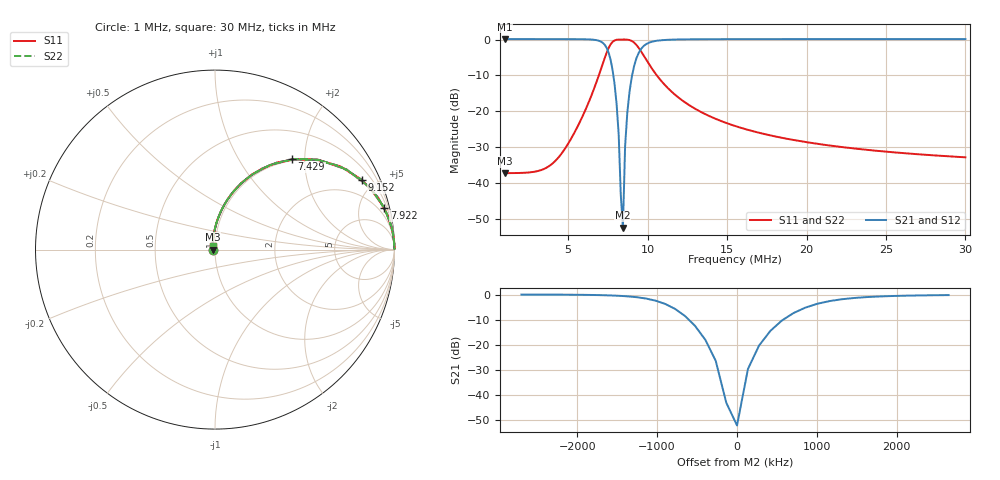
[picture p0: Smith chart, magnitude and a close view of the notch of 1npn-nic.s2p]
# HZ S RI R 50
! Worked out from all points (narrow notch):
!   213 points, 1 MHz to 30 MHz, reference 50 ohm
!   highest |S21| = 0.12 dB at 1 MHz (marker M1); lowest = -52.3 dB at 8.447 MHz (marker M2)
!   notch at M2: 52.4 dB deep, 462 kHz wide at half that depth
!   lowest |S11| = -37.2 dB at 1 MHz (marker M3), VSWR 1.03, Z = 48.6 + j0.0503 ohm
!   |S11| at or under -10 dB: start of sweep to 6.927 MHz; 10.59 MHz to end of sweep
!   |S22| runs from -37.2 to 0.0 dB; largest |S21 - S12| = 1e-15
!   S11 on the Smith chart (normalised r, x): 1 MHz: 0.97, +0.00; 7.429 MHz: 0.97, +1.74; 7.922 MHz: 0.97, +8.16; 9.152 MHz: 0.97, +4.21; 30 MHz: 0.97, +0.04
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1000000  -0.0139 0.000517  1.014 -0.000517  1.014 -0.000517  -0.0139 0.000517
3848349  -0.0137 0.0111  1.014 -0.0111  1.014 -0.0111  -0.0137 0.0111
5840242  -0.00761 0.0794  1.008 -0.0794  1.008 -0.0794  -0.00761 0.0794
6856561  0.0685 0.2769  0.9315 -0.2769  0.9315 -0.2769  0.0685 0.2769
7429236  0.4288 0.5028  0.5712 -0.5028  0.5712 -0.5028  0.4288 0.5028
7671482  0.7317 0.4472  0.2683 -0.4472  0.2683 -0.4472  0.7317 0.4472
7921626  0.944 0.2316  0.056 -0.2316  0.056 -0.2316  0.944 0.2316
8179928  0.9978 0.0477  0.00225 -0.0477  0.00225 -0.0477  0.9978 0.0477
8312220  1 0.00691  4.71e-05 -0.00691  4.71e-05 -0.00691  1 0.00691
8446651  1 0.00243  5.81e-06 -0.00243  5.81e-06 -0.00243  1 0.00243
8583257  0.9989 0.0328  0.00106 -0.0328  0.00106 -0.0328  0.9989 0.0328
8722072  0.9909 0.0957  0.00912 -0.0957  0.00912 -0.0957  0.9909 0.0957
8863132  0.9648 0.1857  0.0352 -0.1857  0.0352 -0.1857  0.9648 0.1857
9152133  0.8177 0.3894  0.1823 -0.3894  0.1823 -0.3894  0.8177 0.3894
9450558  0.57 0.5011  0.43 -0.5011  0.43 -0.5011  0.57 0.5011
9916538  0.2628 0.4516  0.7372 -0.4516  0.7372 -0.4516  0.2628 0.4516
1.074479e7  0.0684 0.2768  0.9316 -0.2768  0.9316 -0.2768  0.0684 0.2768
1.281861e7  -0.000711 0.1148  1.001 -0.1148  1.001 -0.1148  -0.000711 0.1148
1.554002e7  -0.0101 0.0616  1.01 -0.0616  1.01 -0.0616  -0.0101 0.0616
2.041268e7  -0.0127 0.0339  1.013 -0.0339  1.013 -0.0339  -0.0127 0.0339
2.555323e7  -0.0133 0.0234  1.013 -0.0234  1.013 -0.0234  -0.0133 0.0234
3e7  -0.0135 0.0187  1.014 -0.0187  1.014 -0.0187  -0.0135 0.0187
